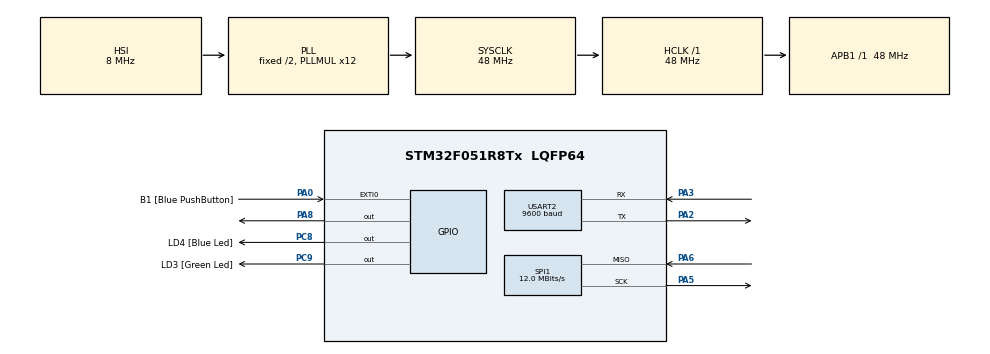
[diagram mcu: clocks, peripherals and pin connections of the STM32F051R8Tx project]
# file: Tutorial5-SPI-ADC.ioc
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Mcu.Family=STM32F0
Mcu.Name=STM32F051R8Tx
Mcu.Package=LQFP64
PA0.GPIO_Label=B1 [Blue PushButton]
PA0.GPIO_ModeDefaultEXTI=GPIO_MODE_EVT_RISING
PA0.Signal=GPXTI0
PA13.GPIO_Label=SWDIO
PA13.Mode=Serial_Wire
PA13.Signal=SYS_SWDIO
PA14.GPIO_Label=SWCLK
PA14.Mode=Serial_Wire
PA14.Signal=SYS_SWCLK
PA2.Mode=Asynchronous
PA2.Signal=USART2_TX
PA3.Mode=Asynchronous
PA3.Signal=USART2_RX
PA5.Mode=RX_Only_Simplex_Unidirect_Master
PA5.Signal=SPI1_SCK
PA6.Mode=RX_Only_Simplex_Unidirect_Master
PA6.Signal=SPI1_MISO
PA8.Signal=GPIO_Output
PC8.GPIO_Label=LD4 [Blue Led]
PC8.Signal=GPIO_Output
PC9.GPIO_Label=LD3 [Green Led]
PC9.Signal=GPIO_Output
ProjectManager.HeapSize=0x200
ProjectManager.StackSize=0x400
ProjectManager.TargetToolchain=STM32CubeIDE
RCC.AHBFreq_Value=48000000
RCC.APB1Freq_Value=48000000
RCC.APB1TimFreq_Value=48000000
RCC.HCLKFreq_Value=48000000
RCC.PLLMUL=RCC_PLL_MUL12
RCC.SYSCLKFreq_VALUE=48000000
RCC.SYSCLKSource=RCC_SYSCLKSOURCE_PLLCLK
SPI1.BaudRatePrescaler=SPI_BAUDRATEPRESCALER_4
SPI1.CalculateBaudRate=12.0 MBits/s
SPI1.DataSize=SPI_DATASIZE_16BIT
SPI1.Direction=SPI_DIRECTION_2LINES_RXONLY
SPI1.Mode=SPI_MODE_MASTER
SPI1.VirtualType=VM_MASTER
USART2.BaudRate=9600
USART2.VirtualMode-Asynchronous=VM_ASYNC
VP_TIM1_VS_OPM.Mode=OPM_bit
board=STM32F0DISCOVERY

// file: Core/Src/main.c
/* USER CODE BEGIN Header */
/**
  ******************************************************************************
  * @file           : main.c
  * @brief          : Main program body
  ******************************************************************************
  * @attention
  *
  * Copyright (c) 2023 STMicroelectronics.
  * All rights reserved.
  *
  * This software is licensed under terms that can be found in the LICENSE file
  * in the root directory of this software component.
  * If no LICENSE file comes with this software, it is provided AS-IS.
  *
  ******************************************************************************
  */
/* USER CODE END Header */
#include "main.h"

/* USER CODE BEGIN Includes */
#include <string.h>
/* USER CODE END Includes */

SPI_HandleTypeDef hspi1;

TIM_HandleTypeDef htim1;

UART_HandleTypeDef huart2;

void SystemClock_Config(void);
static void MX_GPIO_Init(void);
static void MX_SPI1_Init(void);
static void MX_USART2_UART_Init(void);
static void MX_TIM1_Init(void);

int main(void)
{

  /* MCU Configuration--------------------------------------------------------*/

  /* Reset of all peripherals, Initializes the Flash interface and the Systick. */
  HAL_Init();

  /* Configure the system clock */
  SystemClock_Config();

  /* Initialize all configured peripherals */
  MX_GPIO_Init();
  MX_SPI1_Init();
  MX_USART2_UART_Init();
  MX_TIM1_Init();
  /* USER CODE BEGIN 2 */

  uint8_t spiBuffer[2];
  uint8_t uartBuffer[60];
  HAL_StatusTypeDef status;
  /* USER CODE END 2 */

  /* Infinite loop */
  /* USER CODE BEGIN WHILE */
  while (1)
  {
	  /*
	   * On rising edge of CSV, SDO forced high impedience. Keep CSV high for maximum conversion time.
	   * When CSV is lowered, start collecting the 16 bits. After data has been collected, restart
	   * */
	  HAL_GPIO_WritePin(GPIOA, GPIO_PIN_8, GPIO_PIN_SET); //Rising edge of CSV
	  HAL_Delay(1);//Wait for tconv(Maximum Conversion Time here)
	  HAL_GPIO_WritePin(GPIOA, GPIO_PIN_8, GPIO_PIN_RESET); //Conversion should be done, collect 16 bits
	  status = HAL_SPI_Receive(&hspi1, spiBuffer, 2, 10000);
	  if(status != HAL_OK)
	  {
		  sprintf(uartBuffer, "Error SPI status %d\r\n", status);
		  HAL_UART_Transmit(&huart2, (const uint8_t*)uartBuffer, strlen(uartBuffer), 100000);
	  }
	  else
	  {
		  uint16_t data = *spiBuffer;
		  sprintf(uartBuffer, "Data in buffer is 0x%X\r\n", spiBuffer[1]);
		  HAL_UART_Transmit(&huart2, uartBuffer, strlen((char*)uartBuffer), 1000);
		  //HAL_UART_Transmit(&huart2, spiBuffer, strlen((char*)spiBuffer), 1000);
	  }

	  HAL_Delay(500);
    /* USER CODE END WHILE */

  }
}

void SystemClock_Config(void)
{
  RCC_OscInitTypeDef RCC_OscInitStruct = {0};
  RCC_ClkInitTypeDef RCC_ClkInitStruct = {0};

  /** Initializes the RCC Oscillators according to the specified parameters
  * in the RCC_OscInitTypeDef structure.
  */
  RCC_OscInitStruct.OscillatorType = RCC_OSCILLATORTYPE_HSI;
  RCC_OscInitStruct.HSIState = RCC_HSI_ON;
  RCC_OscInitStruct.HSICalibrationValue = RCC_HSICALIBRATION_DEFAULT;
  RCC_OscInitStruct.PLL.PLLState = RCC_PLL_ON;
  RCC_OscInitStruct.PLL.PLLSource = RCC_PLLSOURCE_HSI;
  RCC_OscInitStruct.PLL.PLLMUL = RCC_PLL_MUL12;
  RCC_OscInitStruct.PLL.PREDIV = RCC_PREDIV_DIV1;
  if (HAL_RCC_OscConfig(&RCC_OscInitStruct) != HAL_OK)
  {
    Error_Handler();
  }

  /** Initializes the CPU, AHB and APB buses clocks
  */
  RCC_ClkInitStruct.ClockType = RCC_CLOCKTYPE_HCLK|RCC_CLOCKTYPE_SYSCLK
                              |RCC_CLOCKTYPE_PCLK1;
  RCC_ClkInitStruct.SYSCLKSource = RCC_SYSCLKSOURCE_PLLCLK;
  RCC_ClkInitStruct.AHBCLKDivider = RCC_SYSCLK_DIV1;
  RCC_ClkInitStruct.APB1CLKDivider = RCC_HCLK_DIV1;

  if (HAL_RCC_ClockConfig(&RCC_ClkInitStruct, FLASH_LATENCY_1) != HAL_OK)
  {
    Error_Handler();
  }
}

static void MX_SPI1_Init(void)
{

  /* SPI1 parameter configuration*/
  hspi1.Instance = SPI1;
  hspi1.Init.Mode = SPI_MODE_MASTER;
  hspi1.Init.Direction = SPI_DIRECTION_2LINES_RXONLY;
  hspi1.Init.DataSize = SPI_DATASIZE_16BIT;
  hspi1.Init.CLKPolarity = SPI_POLARITY_LOW;
  hspi1.Init.CLKPhase = SPI_PHASE_1EDGE;
  hspi1.Init.NSS = SPI_NSS_SOFT;
  hspi1.Init.BaudRatePrescaler = SPI_BAUDRATEPRESCALER_4;
  hspi1.Init.FirstBit = SPI_FIRSTBIT_MSB;
  hspi1.Init.TIMode = SPI_TIMODE_DISABLE;
  hspi1.Init.CRCCalculation = SPI_CRCCALCULATION_DISABLE;
  hspi1.Init.CRCPolynomial = 7;
  hspi1.Init.CRCLength = SPI_CRC_LENGTH_DATASIZE;
  hspi1.Init.NSSPMode = SPI_NSS_PULSE_ENABLE;
  if (HAL_SPI_Init(&hspi1) != HAL_OK)
  {
    Error_Handler();
  }

}

static void MX_TIM1_Init(void)
{

  TIM_MasterConfigTypeDef sMasterConfig = {0};

  htim1.Instance = TIM1;
  htim1.Init.Prescaler = 0;
  htim1.Init.CounterMode = TIM_COUNTERMODE_UP;
  htim1.Init.Period = 65535;
  htim1.Init.ClockDivision = TIM_CLOCKDIVISION_DIV1;
  htim1.Init.RepetitionCounter = 0;
  htim1.Init.AutoReloadPreload = TIM_AUTORELOAD_PRELOAD_DISABLE;
  if (HAL_TIM_OnePulse_Init(&htim1, TIM_OPMODE_SINGLE) != HAL_OK)
  {
    Error_Handler();
  }
  sMasterConfig.MasterOutputTrigger = TIM_TRGO_RESET;
  sMasterConfig.MasterSlaveMode = TIM_MASTERSLAVEMODE_DISABLE;
  if (HAL_TIMEx_MasterConfigSynchronization(&htim1, &sMasterConfig) != HAL_OK)
  {
    Error_Handler();
  }

}

static void MX_USART2_UART_Init(void)
{

  huart2.Instance = USART2;
  huart2.Init.BaudRate = 9600;
  huart2.Init.WordLength = UART_WORDLENGTH_8B;
  huart2.Init.StopBits = UART_STOPBITS_1;
  huart2.Init.Parity = UART_PARITY_NONE;
  huart2.Init.Mode = UART_MODE_TX_RX;
  huart2.Init.HwFlowCtl = UART_HWCONTROL_NONE;
  huart2.Init.OverSampling = UART_OVERSAMPLING_16;
  huart2.Init.OneBitSampling = UART_ONE_BIT_SAMPLE_DISABLE;
  huart2.AdvancedInit.AdvFeatureInit = UART_ADVFEATURE_NO_INIT;
  if (HAL_UART_Init(&huart2) != HAL_OK)
  {
    Error_Handler();
  }

}

static void MX_GPIO_Init(void)
{
  GPIO_InitTypeDef GPIO_InitStruct = {0};

  /* GPIO Ports Clock Enable */
  __HAL_RCC_GPIOA_CLK_ENABLE();
  __HAL_RCC_GPIOC_CLK_ENABLE();

  /*Configure GPIO pin Output Level */
  HAL_GPIO_WritePin(GPIOC, LD4_Pin|LD3_Pin, GPIO_PIN_RESET);

  /*Configure GPIO pin Output Level */
  HAL_GPIO_WritePin(GPIOA, GPIO_PIN_8, GPIO_PIN_RESET);

  /*Configure GPIO pin : B1_Pin */
  GPIO_InitStruct.Pin = B1_Pin;
  GPIO_InitStruct.Mode = GPIO_MODE_EVT_RISING;
  GPIO_InitStruct.Pull = GPIO_NOPULL;
  HAL_GPIO_Init(B1_GPIO_Port, &GPIO_InitStruct);

  /*Configure GPIO pins : LD4_Pin LD3_Pin */
  GPIO_InitStruct.Pin = LD4_Pin|LD3_Pin;
  GPIO_InitStruct.Mode = GPIO_MODE_OUTPUT_PP;
  GPIO_InitStruct.Pull = GPIO_NOPULL;
  GPIO_InitStruct.Speed = GPIO_SPEED_FREQ_LOW;
  HAL_GPIO_Init(GPIOC, &GPIO_InitStruct);

  /*Configure GPIO pin : PA8 */
  GPIO_InitStruct.Pin = GPIO_PIN_8;
  GPIO_InitStruct.Mode = GPIO_MODE_OUTPUT_PP;
  GPIO_InitStruct.Pull = GPIO_NOPULL;
  GPIO_InitStruct.Speed = GPIO_SPEED_FREQ_LOW;
  HAL_GPIO_Init(GPIOA, &GPIO_InitStruct);

}

void Error_Handler(void)
{
  __disable_irq();
  while (1)
  {
  }
}
